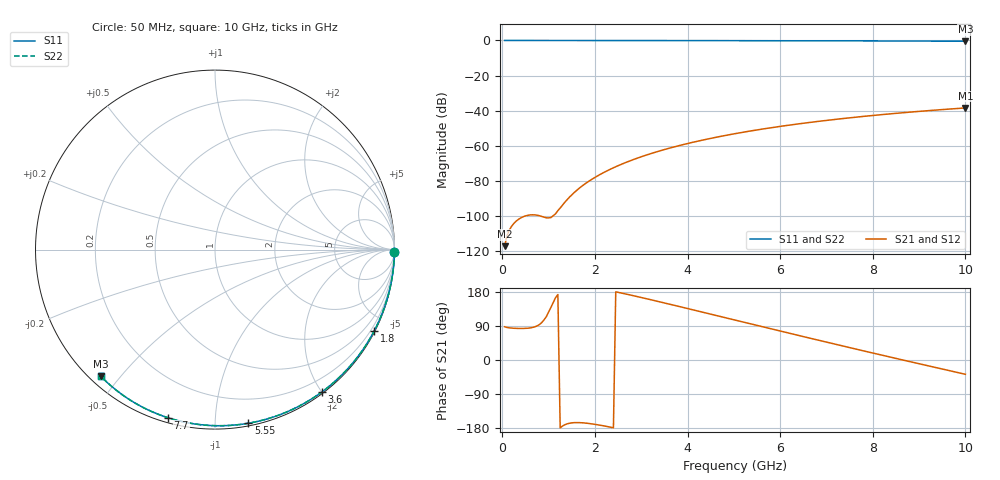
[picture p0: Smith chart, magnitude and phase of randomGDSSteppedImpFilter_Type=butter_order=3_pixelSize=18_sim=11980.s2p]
! freq	dB(S11)	phase(S11)	dB(S12)	phase(S12)
!  dB(S21)	phase(S21)	dB(S22)	phase(S22)
!S-par simulation data
#  GHz  S  DB  R 50
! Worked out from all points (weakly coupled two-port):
!   200 points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, 50 MHz to 10 GHz, reference 50 ohm
!   highest |S21| = -38.42 dB at 10 GHz (marker M1); lowest = -117.1 dB at 50 MHz (marker M2)
!   lowest |S11| = -0.4 dB at 10 GHz (marker M3), VSWR 39.07, Z = 1.53 - j22.2 ohm
!   |S11| at or under -10 dB: nowhere
!   |S22| runs from -0.4 to 0.0 dB; largest |S21 - S12| = 0
!   S11 on the Smith chart (normalised r, x): 50 MHz: open; 1.8 GHz: 0.04, -4.15; 3.6 GHz: 0.02, -2.01; 5.55 GHz: 0.02, -1.21; 7.7 GHz: 0.02, -0.76; 10 GHz: 0.03, -0.44
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0.05  -0.00 -0.8  -117.14 87.7  -117.14 87.7  -0.00 -0.8
0.9  -0.02 -13.7  -100.63 105.7  -100.63 105.7  -0.02 -13.7
1.75  -0.03 -26.3  -82.35 -165.9  -82.35 -165.9  -0.03 -26.3
1.8  -0.03 -27.1  -81.39 -166.5  -81.39 -166.5  -0.03 -27.1
1.85  -0.04 -27.8  -80.49 -167.2  -80.49 -167.2  -0.04 -27.8
1.9  -0.04 -28.6  -79.62 -167.9  -79.62 -167.9  -0.04 -28.6
2.05  -0.04 -30.8  -77.22 -170.7  -77.22 -170.7  -0.04 -30.8
2.25  -0.04 -33.7  -74.39 -175.2  -74.39 -175.2  -0.04 -33.7
2.45  -0.05 -36.6  -71.89 179.9  -71.89 179.9  -0.05 -36.6
2.65  -0.05 -39.5  -69.66 174.6  -69.66 174.6  -0.05 -39.5
3  -0.06 -44.5  -66.23 165.0  -66.23 165.0  -0.06 -44.5
3.4  -0.07 -50.2  -62.88 153.5  -62.88 153.5  -0.07 -50.2
3.6  -0.07 -53.0  -61.39 147.7  -61.39 147.7  -0.07 -53.0
4.3  -0.09 -62.6  -56.88 127.0  -56.88 127.0  -0.09 -62.6
5.05  -0.11 -72.6  -52.96 104.7  -52.96 104.7  -0.11 -72.6
5.55  -0.13 -79.1  -50.73 89.8  -50.73 89.8  -0.13 -79.1
6.1  -0.15 -86.1  -48.56 73.5  -48.56 73.5  -0.15 -86.1
6.7  -0.18 -93.5  -46.47 55.9  -46.47 55.9  -0.18 -93.5
7.7  -0.24 -105.6  -43.50 27.0  -43.50 27.0  -0.24 -105.6
8.35  -0.29 -113.2  -41.85 8.4  -41.85 8.4  -0.29 -113.2
9.15  -0.36 -122.5  -40.06 -14.1  -40.06 -14.1  -0.36 -122.5
10  -0.44 -132.1  -38.42 -37.7  -38.42 -37.7  -0.44 -132.1
